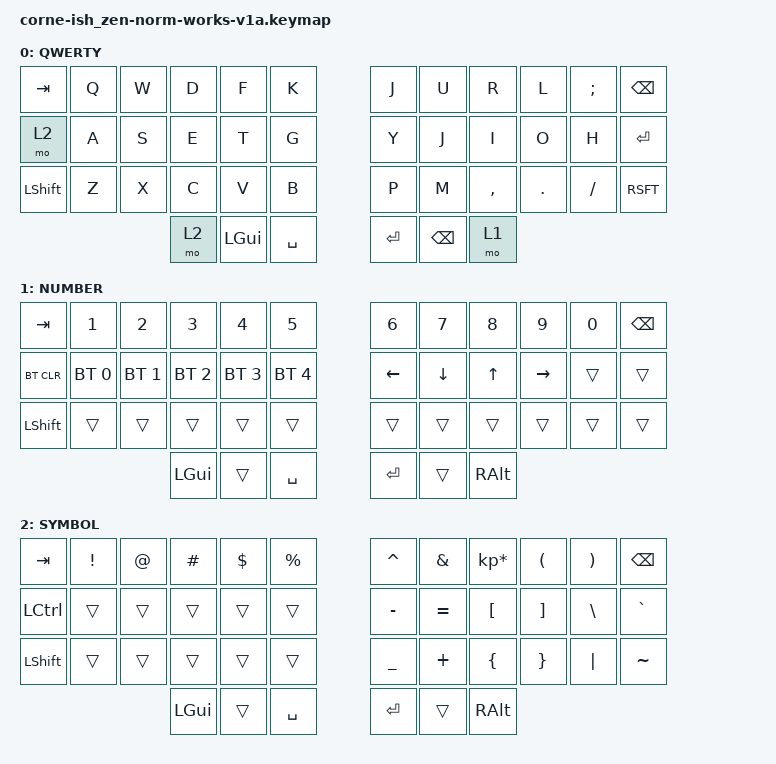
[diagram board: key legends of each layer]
/*
*
* Copyright (c) 2021 Darryl deHaan
* SPDX-License-Identifier: MIT
*
*/

#include <behaviors.dtsi>
#include <dt-bindings/zmk/keys.h>
#include <dt-bindings/zmk/bt.h>

&mt {
     tapping-term-ms = <400>;
 };
 
/ {
        keymap {
                compatible = "zmk,keymap";

                default_layer {
                        label = "QWERTY";
// -----------------------------------------------------------------------------------------
// |  TAB |  Q  |  W  |  E  |  R  |  T  |   |  Y  |  U   |  I  |  O  |  P  | BKSP |
// | CTRL |  A  |  S  |  D  |  F  |  G  |   |  H  |  J   |  K  |  L  |  ;  |  '   |
// | SHFT |  Z  |  X  |  C  |  V  |  B  |   |  N  |  M   |  ,  |  .  |  /  | ESC  |
//                    | GUI | LWR | SPC |   | ENT | RSE  | ALT |
                        bindings = <
   &kp TAB   &kp Q &kp W &kp D &kp F &kp K    &kp J &kp U &kp R    &kp L   &kp SEMI    &kp BSPC
   &mo 2 &kp A &kp S &kp E &kp T &kp G    	  &kp Y &kp J &kp I    &kp O   &kp H    &kp ENTER
   &kp LSHFT &kp Z &kp X &kp C &kp V &kp B    &kp P &kp M &kp CMMA &kp DOT &kp FSLH &kp RSFT
              &mo 2 &kp LGUI &kp SPACE    &kp ENTER &kp BSPC &mo 1
                        >;
                };
                lower_layer {
                        label = "NUMBER";
// -----------------------------------------------------------------------------------------
// |  TAB |  1  |  2  |  3  |  4  |  5  |   |  6  |  7  |  8  |  9  |  0  | BKSP |
// | BTCLR| BT1 | BT2 | BT3 | BT4 | BT5 |   | LFT | DWN |  UP | RGT |     |      |
// | SHFT |     |     |     |     |     |   |     |     |     |     |     |      |
//                    | GUI |     | SPC |   | ENT |     | ALT |
                        bindings = <
   &kp TAB    &kp N1       &kp N2       &kp N3       &kp N4       &kp N5         &kp N6   &kp N7   &kp N8 &kp N9    &kp N0 &kp BSPC
   &bt BT_CLR &bt BT_SEL 0 &bt BT_SEL 1 &bt BT_SEL 2 &bt BT_SEL 3 &bt BT_SEL 4   &kp LEFT &kp DOWN &kp UP &kp RIGHT &trans &trans
   &kp LSHFT  &trans       &trans       &trans       &trans       &trans         &trans   &trans   &trans &trans    &trans &trans
                          	        &kp LGUI     &trans       &kp SPACE      &kp RET  &trans   &kp RALT
                        >;
                };

                raise_layer {
                        label = "SYMBOL";
// -----------------------------------------------------------------------------------------
// |  TAB |  !  |  @  |  #  |  $  |  %  |   |  ^  |  &  |  *  |  (  |  )  | BKSP |
// | CTRL |     |     |     |     |     |   |  -  |  =  |  [  |  ]  |  \  |  `   |
// | SHFT |     |     |     |     |     |   |  _  |  +  |  {  |  }  | "|" |  ~   |
//                    | GUI |     | SPC |   | ENT |     | ALT |
                        bindings = <
   &kp  TAB  &kp EXCL &kp AT &kp HASH &kp DLLR &kp PRCNT   &kp CARET &kp AMPS  &kp KP_MULTIPLY &kp LPAR &kp RPAR &kp BSPC
   &kp LCTRL &trans   &trans &trans   &trans   &trans      &kp MINUS &kp EQUAL &kp LBKT        &kp RBKT &kp BSLH &kp GRAVE
   &kp LSHFT &trans   &trans &trans   &trans   &trans      &kp UNDER &kp PLUS  &kp LBRC        &kp RBRC &kp PIPE &kp TILDE
                    	     &kp LGUI &trans   &kp SPACE   &kp RET   &trans    &kp RALT
                        >;
                };
        };
};
